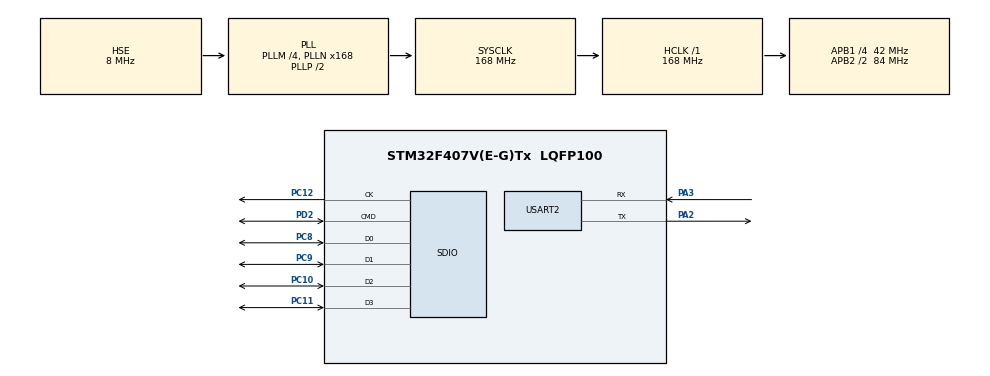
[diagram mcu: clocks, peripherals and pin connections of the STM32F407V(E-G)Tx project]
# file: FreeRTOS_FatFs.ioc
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Dma.Request0=SDIO_RX
Dma.Request1=SDIO_TX
Dma.SDIO_RX.0.Direction=DMA_PERIPH_TO_MEMORY
Dma.SDIO_RX.0.FIFOMode=DMA_FIFOMODE_ENABLE
Dma.SDIO_RX.0.FIFOThreshold=DMA_FIFO_THRESHOLD_FULL
Dma.SDIO_RX.0.Instance=DMA2_Stream3
Dma.SDIO_RX.0.MemBurst=DMA_MBURST_INC4
Dma.SDIO_RX.0.MemDataAlignment=DMA_MDATAALIGN_WORD
Dma.SDIO_RX.0.MemInc=DMA_MINC_ENABLE
Dma.SDIO_RX.0.Mode=DMA_PFCTRL
Dma.SDIO_RX.0.PeriphBurst=DMA_PBURST_INC4
Dma.SDIO_RX.0.PeriphDataAlignment=DMA_PDATAALIGN_WORD
Dma.SDIO_RX.0.PeriphInc=DMA_PINC_DISABLE
Dma.SDIO_RX.0.Priority=DMA_PRIORITY_HIGH
Dma.SDIO_TX.1.Direction=DMA_MEMORY_TO_PERIPH
Dma.SDIO_TX.1.FIFOMode=DMA_FIFOMODE_ENABLE
Dma.SDIO_TX.1.FIFOThreshold=DMA_FIFO_THRESHOLD_FULL
Dma.SDIO_TX.1.Instance=DMA2_Stream6
Dma.SDIO_TX.1.MemBurst=DMA_MBURST_INC4
Dma.SDIO_TX.1.MemDataAlignment=DMA_MDATAALIGN_WORD
Dma.SDIO_TX.1.MemInc=DMA_MINC_ENABLE
Dma.SDIO_TX.1.Mode=DMA_PFCTRL
Dma.SDIO_TX.1.PeriphBurst=DMA_PBURST_INC4
Dma.SDIO_TX.1.PeriphDataAlignment=DMA_PDATAALIGN_WORD
Dma.SDIO_TX.1.PeriphInc=DMA_PINC_DISABLE
Dma.SDIO_TX.1.Priority=DMA_PRIORITY_HIGH
FATFS._CODE_PAGE=936
FATFS._USE_LFN=2
FREERTOS.Tasks01=defaultTask,3,4096,StartDefaultTask,Default,NULL,Dynamic,NULL,NULL
FREERTOS.configCHECK_FOR_STACK_OVERFLOW=0
FREERTOS.configENABLE_BACKWARD_COMPATIBILITY=0
FREERTOS.configIDLE_SHOULD_YIELD=0
FREERTOS.configMAX_TASK_NAME_LEN=12
FREERTOS.configMINIMAL_STACK_SIZE=64
FREERTOS.configTOTAL_HEAP_SIZE=102400
FREERTOS.configUSE_APPLICATION_TASK_TAG=0
FREERTOS.configUSE_COUNTING_SEMAPHORES=0
FREERTOS.configUSE_RECURSIVE_MUTEXES=0
FREERTOS.configUSE_TASK_NOTIFICATIONS=0
Mcu.Family=STM32F4
Mcu.Name=STM32F407V(E-G)Tx
Mcu.Package=LQFP100
NVIC.DMA2_Stream3_IRQn=true\:5\:0\:false\:false\:true\:true\:false
NVIC.DMA2_Stream6_IRQn=true\:5\:0\:false\:false\:true\:true\:false
NVIC.PriorityGroup=NVIC_PRIORITYGROUP_4
NVIC.SDIO_IRQn=true\:5\:0\:true\:false\:true\:true\:true
NVIC.TIM6_DAC_IRQn=true\:0\:0\:false\:false\:true\:false\:false
NVIC.TimeBase=TIM6_DAC_IRQn
NVIC.TimeBaseIP=TIM6
PA13.Mode=Serial_Wire
PA13.Signal=SYS_JTMS-SWDIO
PA14.Mode=Serial_Wire
PA14.Signal=SYS_JTCK-SWCLK
PA2.Mode=Asynchronous
PA2.Signal=USART2_TX
PA3.Mode=Asynchronous
PA3.Signal=USART2_RX
PC10.Mode=SD_4_bits_Wide_bus
PC10.Signal=SDIO_D2
PC11.Mode=SD_4_bits_Wide_bus
PC11.Signal=SDIO_D3
PC12.Mode=SD_4_bits_Wide_bus
PC12.Signal=SDIO_CK
PC14-OSC32_IN.Mode=LSE-External-Oscillator
PC14-OSC32_IN.Signal=RCC_OSC32_IN
PC15-OSC32_OUT.Mode=LSE-External-Oscillator
PC15-OSC32_OUT.Signal=RCC_OSC32_OUT
PC8.Mode=SD_4_bits_Wide_bus
PC8.Signal=SDIO_D0
PC9.Mode=SD_4_bits_Wide_bus
PC9.Signal=SDIO_D1
PD2.Mode=SD_4_bits_Wide_bus
PD2.Signal=SDIO_CMD
PH0-OSC_IN.Mode=HSE-External-Oscillator
PH0-OSC_IN.Signal=RCC_OSC_IN
PH1-OSC_OUT.Mode=HSE-External-Oscillator
PH1-OSC_OUT.Signal=RCC_OSC_OUT
ProjectManager.HeapSize=0x800
ProjectManager.StackSize=0x1000
ProjectManager.TargetToolchain=MDK-ARM V5
RCC.48MHZClocksFreq_Value=48000000
RCC.AHBFreq_Value=168000000
RCC.APB1CLKDivider=RCC_HCLK_DIV4
RCC.APB1Freq_Value=42000000
RCC.APB1TimFreq_Value=84000000
RCC.APB2CLKDivider=RCC_HCLK_DIV2
RCC.APB2Freq_Value=84000000
RCC.APB2TimFreq_Value=168000000
RCC.CortexFreq_Value=168000000
RCC.EnbaleCSS=true
RCC.HCLKFreq_Value=168000000
RCC.HSE_VALUE=8000000
RCC.HSI_VALUE=16000000
RCC.PLLM=4
RCC.PLLN=168
RCC.PLLQ=7
RCC.PLLSourceVirtual=RCC_PLLSOURCE_HSE
RCC.SYSCLKFreq_VALUE=168000000
RCC.SYSCLKSource=RCC_SYSCLKSOURCE_PLLCLK
RCC.VCOOutputFreq_Value=336000000
USART2.VirtualMode=VM_ASYNC
VP_FATFS_VS_SDIO.Mode=SDIO
VP_FREERTOS_VS_ENABLE.Mode=Enabled
VP_SYS_VS_tim6.Mode=TIM6
board=custom

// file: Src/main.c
/**
  ******************************************************************************
  * @file           : main.c
  * @brief          : Main program body
  ******************************************************************************
  * This notice applies to any and all portions of this file
  * that are not between comment pairs USER CODE BEGIN and
  * USER CODE END. Other portions of this file, whether
  * inserted by the user or by software development tools
  * are owned by their respective copyright owners.
  *
  * Copyright (c) 2018 STMicroelectronics International N.V.
  * All rights reserved.
  *
  * Redistribution and use in source and binary forms, with or without
  * modification, are permitted, provided that the following conditions are met:
  *
  * 1. Redistribution of source code must retain the above copyright notice,
  *    this list of conditions and the following disclaimer.
  * 2. Redistributions in binary form must reproduce the above copyright notice,
  *    this list of conditions and the following disclaimer in the documentation
  *    and/or other materials provided with the distribution.
  * 3. Neither the name of STMicroelectronics nor the names of other
  *    contributors to this software may be used to endorse or promote products
  *    derived from this software without specific written permission.
  * 4. This software, including modifications and/or derivative works of this
  *    software, must execute solely and exclusively on microcontroller or
  *    microprocessor devices manufactured by or for STMicroelectronics.
  * 5. Redistribution and use of this software other than as permitted under
  *    this license is void and will automatically terminate your rights under
  *    this license.
  *
  * THIS SOFTWARE IS PROVIDED BY STMICROELECTRONICS AND CONTRIBUTORS "AS IS"
  * AND ANY EXPRESS, IMPLIED OR STATUTORY WARRANTIES, INCLUDING, BUT NOT
  * LIMITED TO, THE IMPLIED WARRANTIES OF MERCHANTABILITY, FITNESS FOR A
  * PARTICULAR PURPOSE AND NON-INFRINGEMENT OF THIRD PARTY INTELLECTUAL PROPERTY
  * RIGHTS ARE DISCLAIMED TO THE FULLEST EXTENT PERMITTED BY LAW. IN NO EVENT
  * SHALL STMICROELECTRONICS OR CONTRIBUTORS BE LIABLE FOR ANY DIRECT, INDIRECT,
  * INCIDENTAL, SPECIAL, EXEMPLARY, OR CONSEQUENTIAL DAMAGES (INCLUDING, BUT NOT
  * LIMITED TO, PROCUREMENT OF SUBSTITUTE GOODS OR SERVICES; LOSS OF USE, DATA,
  * OR PROFITS; OR BUSINESS INTERRUPTION) HOWEVER CAUSED AND ON ANY THEORY OF
  * LIABILITY, WHETHER IN CONTRACT, STRICT LIABILITY, OR TORT (INCLUDING
  * NEGLIGENCE OR OTHERWISE) ARISING IN ANY WAY OUT OF THE USE OF THIS SOFTWARE,
  * EVEN IF ADVISED OF THE POSSIBILITY OF SUCH DAMAGE.
  *
  ******************************************************************************
  */
#include "main.h"
#include "stm32f4xx_hal.h"
#include "cmsis_os.h"
#include "dma.h"
#include "fatfs.h"
#include "sdio.h"
#include "usart.h"
#include "gpio.h"

/* USER CODE BEGIN PV */
/* Private variables ---------------------------------------------------------*/

/* USER CODE END PV */

void SystemClock_Config(void);
void MX_FREERTOS_Init(void);

/* USER CODE BEGIN PFP */
/* Private function prototypes -----------------------------------------------*/

/* USER CODE END PFP */

int main(void)
{

  /* MCU Configuration----------------------------------------------------------*/

  /* Reset of all peripherals, Initializes the Flash interface and the Systick. */
  HAL_Init();

  /* Configure the system clock */
  SystemClock_Config();

  /* Initialize all configured peripherals */
  MX_GPIO_Init();
  MX_DMA_Init();
  MX_USART2_UART_Init();
  MX_SDIO_SD_Init();

  /* Call init function for freertos objects (in freertos.c) */
  MX_FREERTOS_Init();

  /* Start scheduler */
  osKernelStart();

  /* We should never get here as control is now taken by the scheduler */

  /* Infinite loop */
  while (1)
  {

  }

}

void SystemClock_Config(void)
{

  RCC_OscInitTypeDef RCC_OscInitStruct;
  RCC_ClkInitTypeDef RCC_ClkInitStruct;

    /**Configure the main internal regulator output voltage
    */
  __HAL_RCC_PWR_CLK_ENABLE();

  __HAL_PWR_VOLTAGESCALING_CONFIG(PWR_REGULATOR_VOLTAGE_SCALE1);

    /**Initializes the CPU, AHB and APB busses clocks
    */
  RCC_OscInitStruct.OscillatorType = RCC_OSCILLATORTYPE_HSE;
  RCC_OscInitStruct.HSEState = RCC_HSE_ON;
  RCC_OscInitStruct.PLL.PLLState = RCC_PLL_ON;
  RCC_OscInitStruct.PLL.PLLSource = RCC_PLLSOURCE_HSE;
  RCC_OscInitStruct.PLL.PLLM = 4;
  RCC_OscInitStruct.PLL.PLLN = 168;
  RCC_OscInitStruct.PLL.PLLP = RCC_PLLP_DIV2;
  RCC_OscInitStruct.PLL.PLLQ = 7;
  if (HAL_RCC_OscConfig(&RCC_OscInitStruct) != HAL_OK)
  {
    _Error_Handler(__FILE__, __LINE__);
  }

    /**Initializes the CPU, AHB and APB busses clocks
    */
  RCC_ClkInitStruct.ClockType = RCC_CLOCKTYPE_HCLK|RCC_CLOCKTYPE_SYSCLK
                              |RCC_CLOCKTYPE_PCLK1|RCC_CLOCKTYPE_PCLK2;
  RCC_ClkInitStruct.SYSCLKSource = RCC_SYSCLKSOURCE_PLLCLK;
  RCC_ClkInitStruct.AHBCLKDivider = RCC_SYSCLK_DIV1;
  RCC_ClkInitStruct.APB1CLKDivider = RCC_HCLK_DIV4;
  RCC_ClkInitStruct.APB2CLKDivider = RCC_HCLK_DIV2;

  if (HAL_RCC_ClockConfig(&RCC_ClkInitStruct, FLASH_LATENCY_5) != HAL_OK)
  {
    _Error_Handler(__FILE__, __LINE__);
  }

    /**Enables the Clock Security System
    */
  HAL_RCC_EnableCSS();

    /**Configure the Systick interrupt time
    */
  HAL_SYSTICK_Config(HAL_RCC_GetHCLKFreq()/1000);

    /**Configure the Systick
    */
  HAL_SYSTICK_CLKSourceConfig(SYSTICK_CLKSOURCE_HCLK);

  /* SysTick_IRQn interrupt configuration */
  HAL_NVIC_SetPriority(SysTick_IRQn, 15, 0);
}

void HAL_TIM_PeriodElapsedCallback(TIM_HandleTypeDef *htim)
{
  if (htim->Instance == TIM6) {
    HAL_IncTick();
  }
}

void _Error_Handler(char *file, int line)
{
  while(1)
  {
  }
}

/************************ (C) COPYRIGHT STMicroelectronics *****END OF FILE****/

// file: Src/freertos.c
/* USER CODE BEGIN Header */
/**
  ******************************************************************************
  * File Name          : freertos.c
  * Description        : Code for freertos applications
  ******************************************************************************
  * This notice applies to any and all portions of this file
  * that are not between comment pairs USER CODE BEGIN and
  * USER CODE END. Other portions of this file, whether
  * inserted by the user or by software development tools
  * are owned by their respective copyright owners.
  *
  * Copyright (c) 2018 STMicroelectronics International N.V.
  * All rights reserved.
  *
  * Redistribution and use in source and binary forms, with or without
  * modification, are permitted, provided that the following conditions are met:
  *
  * 1. Redistribution of source code must retain the above copyright notice,
  *    this list of conditions and the following disclaimer.
  * 2. Redistributions in binary form must reproduce the above copyright notice,
  *    this list of conditions and the following disclaimer in the documentation
  *    and/or other materials provided with the distribution.
  * 3. Neither the name of STMicroelectronics nor the names of other
  *    contributors to this software may be used to endorse or promote products
  *    derived from this software without specific written permission.
  * 4. This software, including modifications and/or derivative works of this
  *    software, must execute solely and exclusively on microcontroller or
  *    microprocessor devices manufactured by or for STMicroelectronics.
  * 5. Redistribution and use of this software other than as permitted under
  *    this license is void and will automatically terminate your rights under
  *    this license.
  *
  * THIS SOFTWARE IS PROVIDED BY STMICROELECTRONICS AND CONTRIBUTORS "AS IS"
  * AND ANY EXPRESS, IMPLIED OR STATUTORY WARRANTIES, INCLUDING, BUT NOT
  * LIMITED TO, THE IMPLIED WARRANTIES OF MERCHANTABILITY, FITNESS FOR A
  * PARTICULAR PURPOSE AND NON-INFRINGEMENT OF THIRD PARTY INTELLECTUAL PROPERTY
  * RIGHTS ARE DISCLAIMED TO THE FULLEST EXTENT PERMITTED BY LAW. IN NO EVENT
  * SHALL STMICROELECTRONICS OR CONTRIBUTORS BE LIABLE FOR ANY DIRECT, INDIRECT,
  * INCIDENTAL, SPECIAL, EXEMPLARY, OR CONSEQUENTIAL DAMAGES (INCLUDING, BUT NOT
  * LIMITED TO, PROCUREMENT OF SUBSTITUTE GOODS OR SERVICES; LOSS OF USE, DATA,
  * OR PROFITS; OR BUSINESS INTERRUPTION) HOWEVER CAUSED AND ON ANY THEORY OF
  * LIABILITY, WHETHER IN CONTRACT, STRICT LIABILITY, OR TORT (INCLUDING
  * NEGLIGENCE OR OTHERWISE) ARISING IN ANY WAY OUT OF THE USE OF THIS SOFTWARE,
  * EVEN IF ADVISED OF THE POSSIBILITY OF SUCH DAMAGE.
  *
  ******************************************************************************
  */
/* USER CODE END Header */

#include "FreeRTOS.h"
#include "task.h"
#include "main.h"
#include "cmsis_os.h"

/* USER CODE BEGIN Includes */
#include "usart.h"

#include "fatfs.h"

/* USER CODE END Includes */

osThreadId defaultTaskHandle;

void StartDefaultTask(void const * argument);

extern void MX_FATFS_Init(void);
void MX_FREERTOS_Init(void); /* (MISRA C 2004 rule 8.1) */

void MX_FREERTOS_Init(void) {

  /* Create the thread(s) */
  /* definition and creation of defaultTask */
  osThreadDef(defaultTask, StartDefaultTask, osPriorityRealtime, 0, 4096);
  defaultTaskHandle = osThreadCreate(osThread(defaultTask), NULL);

}

void StartDefaultTask(void const * argument)
{
  /* init code for FATFS */
  MX_FATFS_Init();

  /* USER CODE BEGIN StartDefaultTask */

		FRESULT res;                                          /* FatFs function common retSDult code */
		uint32_t byteswritten, bytesread;                     /* File write/read counts */
		uint8_t wtext[] = "Fr"; /* File write buffer */
		uint8_t rtext[100];

  if(f_mount(&SDFatFS, (TCHAR const*)SDPath, 0) != FR_OK)
  {
    /* FatFs Initialization Error */
    Error_Handler();
  }
  else
  {
      /* Create and Open a new text file object with write access */
      if(f_open(&SDFile, "STM32.TXT", FA_CREATE_ALWAYS | FA_WRITE) != FR_OK)
      {
        /* 'STM32.TXT' file Open for write Error */
        Error_Handler();
      }
      else
      {
        /* Write data to the text file */
        res = f_write(&SDFile, wtext, sizeof(wtext), (void *)&byteswritten);

        if((byteswritten == 0) || (res != FR_OK))
        {
          /* 'STM32.TXT' file Write or EOF Error */
          Error_Handler();
        }
        else
        {
          /* Close the open text file */
          f_close(&SDFile);

        /* Open the text file object with read access */
        if(f_open(&SDFile, "STM32.TXT", FA_READ) != FR_OK)
        {
          /* 'STM32.TXT' file Open for read Error */
          Error_Handler();
        }
        else
        {
          /* Read data from the text file */
          res = f_read(&SDFile, rtext, sizeof(rtext), (void *)&bytesread);

          if((bytesread == 0) || (res != FR_OK))
          {
            /* 'STM32.TXT' file Read or EOF Error */
            Error_Handler();
          }
          else
          {
            /* Close the open text file */
            f_close(&SDFile);

            /* Compare read data with the expected data */
            if((bytesread != byteswritten))
            {
              /* Read data is different from the expected data */
              Error_Handler();
            }
            else
            {
          /* Success of the demo: no error occurrence */
              HAL_UART_Transmit(&huart2,(uint8_t *)"02",2,0xFF);
            }
          }
        }
      }
    }
  }

  /* Unlink the USB disk I/O driver */
  FATFS_UnLinkDriver(SDPath);
  /* Infinite loop */
  for(;;)
  {

			 HAL_UART_Transmit(&huart2,(uint8_t *)"03",2,0xFF);
    osDelay(1000);
  }
  /* USER CODE END StartDefaultTask */
}

/************************ (C) COPYRIGHT STMicroelectronics *****END OF FILE****/
